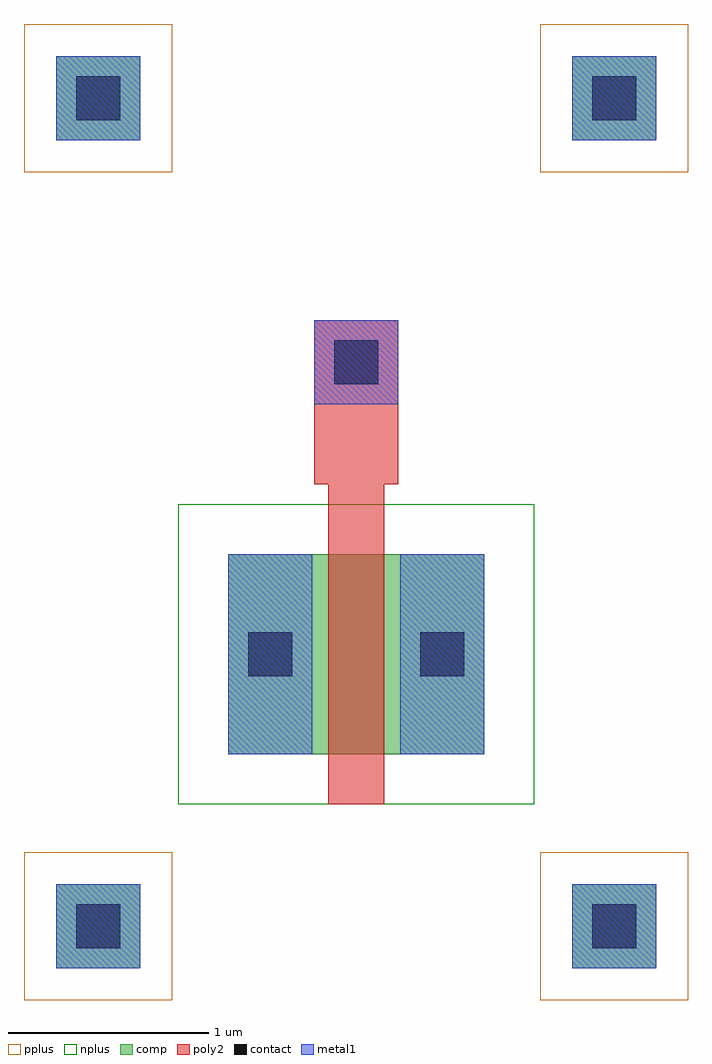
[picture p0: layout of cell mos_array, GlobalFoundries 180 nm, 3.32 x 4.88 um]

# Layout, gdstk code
import gdstk
lib = gdstk.Library(unit=1e-6, precision=5e-10)
def R(c, l, rs):  # rectangles x0, y0, x1, y1
    for r in rs: c.add(gdstk.rectangle(r[:2], r[2:], *l))
comp = (22, 0)
poly2 = (30, 0)
pplus = (31, 0)
nplus = (32, 0)
contact = (33, 0)
metal1 = (34, 0)

mos_array = lib.new_cell('mos_array')
R(mos_array, comp, [(-0.86,-1.07,-0.44,-0.65), (1.72,-1.07,2.14,-0.65), (0,0,1.28,1), (-0.86,3.07,-0.44,3.49), (1.72,3.07,2.14,3.49)])
R(mos_array, poly2, [(0.5,-0.25,0.78,1), (0.5,1,0.78,1.35), (0.43,1.35,0.85,2.17)])
R(mos_array, pplus, [(-1.02,-1.23,-0.28,-0.49), (1.56,-1.23,2.3,-0.49), (-1.02,2.91,-0.28,3.65), (1.56,2.91,2.3,3.65)])
R(mos_array, nplus, [(-0.25,-0.25,1.53,1.25)])
R(mos_array, contact, [(-0.76,-0.97,-0.54,-0.75), (1.82,-0.97,2.04,-0.75), (0.1,0.39,0.32,0.61), (0.96,0.39,1.18,0.61), (0.53,1.85,0.75,2.07), (-0.76,3.17,-0.54,3.39), (1.82,3.17,2.04,3.39)])
R(mos_array, metal1, [(-0.86,-1.07,-0.44,-0.65), (1.72,-1.07,2.14,-0.65), (0,0,0.42,1), (0.86,0,1.28,1), (0.43,1.75,0.85,2.17), (-0.86,3.07,-0.44,3.49), (1.72,3.07,2.14,3.49)])

lib.write_gds('mos_array.gds')
